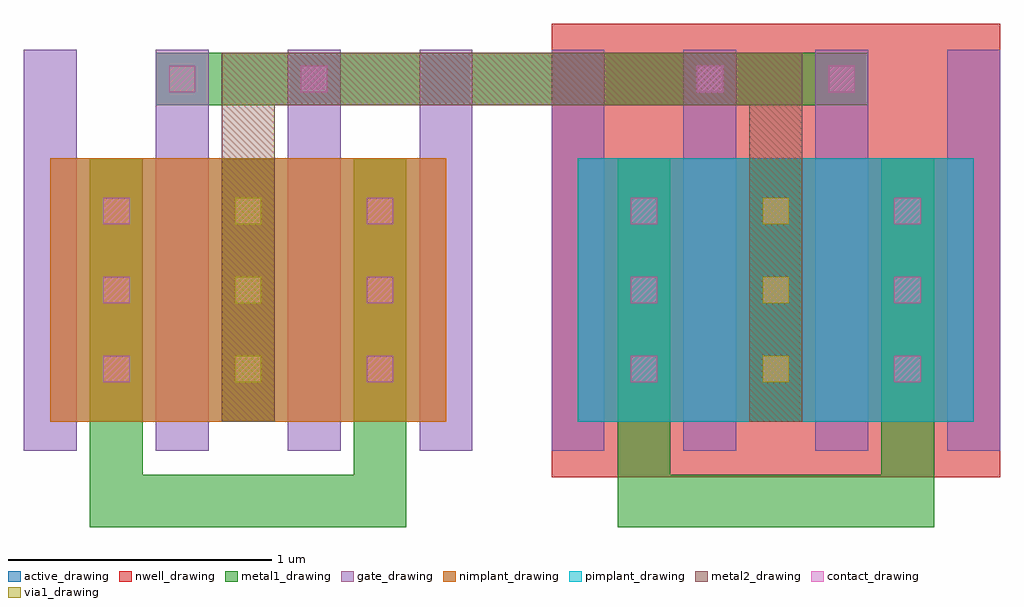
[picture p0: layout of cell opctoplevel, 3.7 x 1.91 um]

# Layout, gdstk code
import gdstk
lib = gdstk.Library(unit=1e-6, precision=1e-09)
def R(c, l, rs):  # rectangles x0, y0, x1, y1
    for r in rs: c.add(gdstk.rectangle(r[:2], r[2:], *l))
def A(c, l, x, y, w, h, nx, ny, dx, dy):  # array of equal rectangles
    R(c, l, [(x+i*dx, y+j*dy, x+i*dx+w, y+j*dy+h) for i in range(nx) for j in range(ny)])
active_drawing = (1, 0)
nwell_drawing = (3, 0)
pimplant_drawing = (4, 0)
nimplant_drawing = (5, 0)
gate_drawing = (6, 0)
contact_drawing = (7, 0)
metal1_drawing = (8, 0)
via1_drawing = (9, 0)
metal2_drawing = (10, 0)

opctoplevel = lib.new_cell('opctoplevel')
R(opctoplevel, active_drawing, [(-0.15,0,1.35,1), (1.85,0,3.35,1)])
R(opctoplevel, nwell_drawing, [(1.75,-0.21,3.45,1.51)])
R(opctoplevel, pimplant_drawing, [(1.85,0,3.35,1)])
R(opctoplevel, nimplant_drawing, [(-0.15,0,1.35,1)])
A(opctoplevel, gate_drawing, -0.25, -0.11, 0.2, 1.52, 8, 1, 0.5, 0)
R(opctoplevel, gate_drawing, [(0.25,1.2,0.45,1.4), (0.75,1.2,0.95,1.4), (2.25,1.2,2.45,1.4), (2.75,1.2,2.95,1.4)])
A(opctoplevel, contact_drawing, 0.05, 0.15, 0.1, 0.1, 3, 3, 0.5, 0.3)
A(opctoplevel, contact_drawing, 2.05, 0.15, 0.1, 0.1, 3, 3, 0.5, 0.3)
R(opctoplevel, contact_drawing, [(0.3,1.25,0.4,1.35), (0.8,1.25,0.9,1.35), (2.3,1.25,2.4,1.35), (2.8,1.25,2.9,1.35)])
A(opctoplevel, metal1_drawing, 0, -0.2, 0.2, 0.2, 4, 1, 1, 0)
A(opctoplevel, metal1_drawing, 0, 0, 0.2, 1, 3, 1, 0.5, 0)
A(opctoplevel, metal1_drawing, 2, 0, 0.2, 1, 3, 1, 0.5, 0)
R(opctoplevel, metal1_drawing, [(0,-0.4,1.2,-0.2), (2,-0.4,3.2,-0.2), (0.25,1.2,0.45,1.4), (0.25,1.2,0.95,1.4), (0.25,1.2,2.95,1.4), (0.75,1.2,0.95,1.4), (2.25,1.2,2.45,1.4), (2.25,1.2,2.95,1.4), (2.75,1.2,2.95,1.4)])
A(opctoplevel, via1_drawing, 0.55, 0.15, 0.1, 0.1, 1, 3, 0, 0.3)
A(opctoplevel, via1_drawing, 2.55, 0.15, 0.1, 0.1, 1, 3, 0, 0.3)
R(opctoplevel, metal2_drawing, [(0.5,0,0.7,1), (2.5,0,2.7,1), (0.5,1,0.7,1.2), (2.5,1,2.7,1.2), (0.5,1.2,0.7,1.4), (0.5,1.2,2.7,1.4), (2.5,1.2,2.7,1.4)])

lib.write_gds('opctoplevel.gds')
